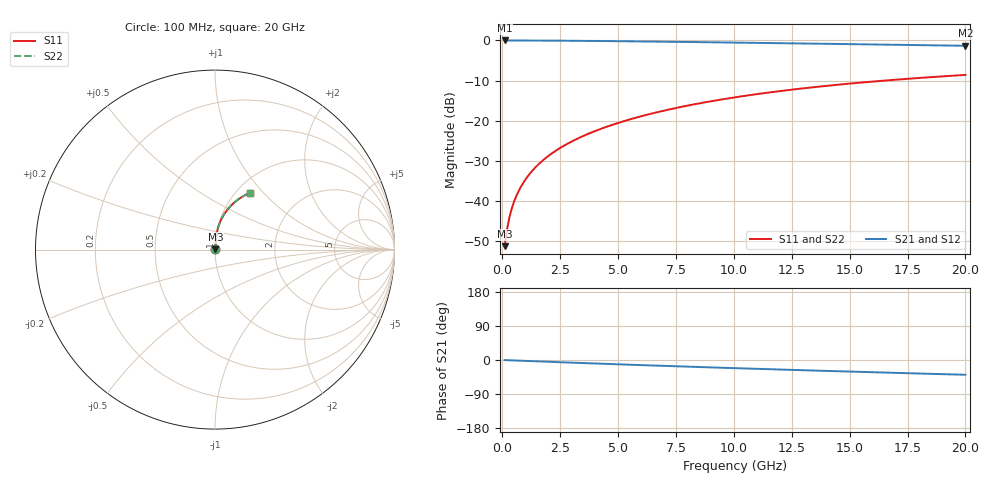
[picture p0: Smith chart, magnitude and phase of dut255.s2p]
! Touchstone file exported from HFSS 2024.1.0
!  File:  C:/UserFiles/LocalFiles/RDL_TSV_Batchsim/temp_RDL_top_255_1778689052.aedt
!  Generated:  12:19:42 AM May 14, 2026
!  Design:  RDL_top
!  Project:  temp_RDL_top_255_1778689052
!  Setup:  Setup1
!  Solution:  Sweep
! Variables:
!  dtsv = 10.80580581um
!  hbump = 3um
!  htsv = 79.41um
!  ldown = 100um
!  lrdl = 529.64um
!  p = 40
!  p1 = 56.75um
!  rhole = 1um
!  t = 450um
!  tdown = 3.915915916um
!  trdl = 4.82um
!  wdown = 15.38538539um
!  wrdl = 21.89um
# GHz S MA R 50.000000
! Terminal data exported
! Port[1] = Box2_T1
! Port[2] = Box2_T2
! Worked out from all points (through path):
!   200 points, 100 MHz to 20 GHz, reference 50 ohm
!   highest |S21| = -0.02 dB at 100 MHz (marker M1); lowest = -1.3 dB at 20 GHz (marker M2)
!   group delay of S21, straight-line fit = 5.36 ps
!   lowest |S11| = -51.2 dB at 100 MHz (marker M3), VSWR 1.01, Z = 50.2 + j0.197 ohm
!   |S11| at or under -10 dB: start of sweep to 16.5 GHz
!   |S22| runs from -51.2 to -8.6 dB; largest |S21 - S12| = 2.1e-15
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0.1  0.002759 45.4  0.9981 -0.2  0.9981 -0.2  0.002759 45.4
! Gamma 0 0 0 0
! Port Impedance 50 0 50 0
0.2  0.004393 62.5  0.9979 -0.5  0.9979 -0.5  0.004393 62.5
0.3  0.006164 69.6  0.9978 -0.7  0.9978 -0.7  0.006165 69.6
0.4  0.00795 73.5  0.9976 -1.0  0.9976 -1.0  0.00795 73.5
0.5  0.009728 75.9  0.9975 -1.2  0.9975 -1.2  0.009728 75.9
0.7  0.01327 78.9  0.9971 -1.7  0.9971 -1.7  0.01327 78.9
0.8  0.01505 80.0  0.997 -1.9  0.997 -1.9  0.01505 80.0
1  0.01861 81.5  0.9966 -2.4  0.9966 -2.4  0.01861 81.5
1.2  0.02219 82.5  0.9962 -2.8  0.9962 -2.8  0.02219 82.5
1.4  0.0258 83.3  0.9957 -3.3  0.9957 -3.3  0.0258 83.3
1.7  0.03124 84.0  0.9948 -4.0  0.9948 -4.0  0.03124 84.0
2  0.03673 84.5  0.9938 -4.7  0.9938 -4.7  0.03673 84.5
2.7  0.0497 84.9  0.9909 -6.3  0.9909 -6.3  0.04971 84.9
3.5  0.06483 84.9  0.9868 -8.1  0.9868 -8.1  0.06483 84.9
4.2  0.07831 84.5  0.9827 -9.7  0.9827 -9.7  0.07831 84.5
5  0.09399 83.8  0.9775 -11.4  0.9775 -11.4  0.094 83.8
6.8  0.1301 81.6  0.9646 -15.2  0.9646 -15.2  0.1301 81.6
8.4  0.1625 79.1  0.9523 -18.4  0.9523 -18.4  0.1626 79.1
10.1  0.1968 76.1  0.9389 -21.6  0.9389 -21.6  0.1969 76.1
13.4  0.2608 70.0  0.9119 -27.7  0.9119 -27.7  0.2609 70.0
16.7  0.3195 64.0  0.8844 -33.5  0.8844 -33.5  0.3196 64.0
20  0.3719 58.2  0.8568 -39.0  0.8568 -39.0  0.372 58.3
